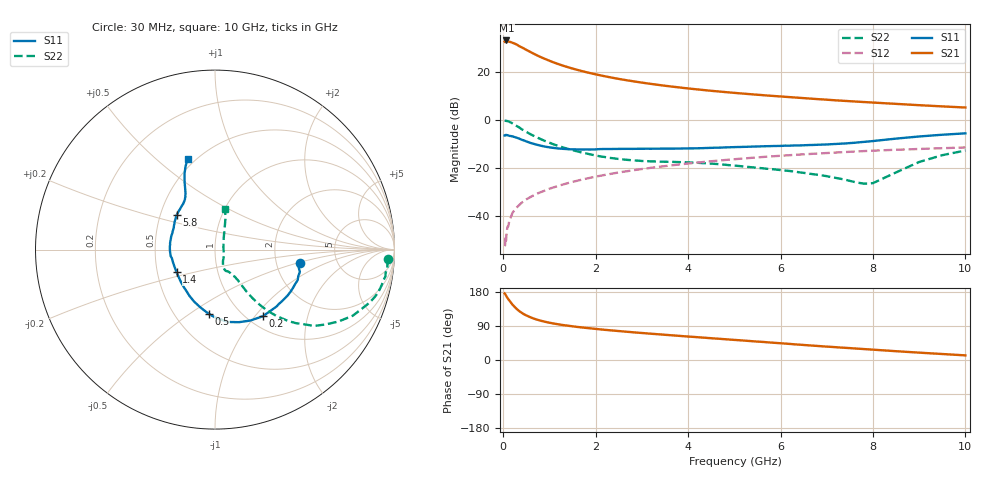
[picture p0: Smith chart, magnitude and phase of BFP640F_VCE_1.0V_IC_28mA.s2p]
! Infineon Technologies  Discrete & RF Semiconductors
! BFP640F
! VCE =  1.0 V,  IC =  28 mA
! Common Emitter S-Parameters:  Apr 2013
# GHz  S  MA  R  50
!  f  S11  S21  S12  S22
! GHz  MAG  ANG  MAG  ANG  MAG  ANG  MAG  ANG
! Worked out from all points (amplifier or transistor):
!   99 points, 30 MHz to 10 GHz, reference 50 ohm
!   highest |S21| = 33.0 dB at 70 MHz (marker M1)
!   |S21| within 3 dB of that: start of sweep to 414 MHz
!   unconditionally stable (mu >= 1): 1.75 GHz to end of sweep
!   at 350 MHz: K = 0.45, MSG = 32.9 dB, |S12| = -35.2 dB
!   at 3.5 GHz: K = 1.06, MAG = 15.2 dB, |S12| = -19.1 dB
!   at 10 GHz: K = 1.05, MAG = 7.0 dB, |S12| = -11.4 dB
!   S11 on the Smith chart (normalised r, x): 30 MHz: 2.70, -0.53; 200 MHz: 1.17, -1.10; 500 MHz: 0.73, -0.60; 1.4 GHz: 0.63, -0.17; 5.8 GHz: 0.61, +0.26; 10 GHz: 0.45, +0.64
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0.03  0.477 -9.2  42.38 175.8  0.0024 83.8  0.9652 -3.1
0.05  0.4889 -14.7  44.19 172.4  0.0038 91.7  0.9662 -6.1
0.07  0.4909 -20.3  44.92 168.2  0.0041 88.3  0.961 -9.0
0.11  0.4786 -32.3  43.11 160.6  0.0062 81.5  0.9395 -14.7
0.2  0.4572 -54.2  40.19 146.2  0.0118 73.9  0.8519 -25.6
0.25  0.4419 -63.4  38.58 139.8  0.0137 73.1  0.7964 -30.2
0.3  0.4258 -71.8  36.54 133.8  0.0155 70.9  0.744 -34.1
0.35  0.4099 -79.7  33.98 128.7  0.0173 69.7  0.6971 -37.6
0.4  0.3888 -85.8  32.32 124.6  0.0192 68.4  0.6433 -40.2
0.5  0.3593 -95.6  28.65 117.6  0.0225 68.4  0.5676 -44.4
0.6  0.3326 -104.1  25.55 112.1  0.0255 67.7  0.5014 -47.3
0.8  0.295 -118.7  20.52 104.0  0.0315 67.5  0.406 -50.7
1.1  0.2626 -136.1  15.61 96.1  0.0402 67.7  0.3098 -52.8
1.4  0.2482 -149.3  12.52 90.5  0.049 67.3  0.252 -53.2
1.7  0.2444 -160.3  10.41 85.9  0.0579 66.7  0.2115 -53.2
2.4  0.2509 -178.3  7.441 77.5  0.0785 64.5  0.1596 -56.7
3.4  0.2544 163.8  5.299 67.5  0.1077 59.8  0.1364 -61.6
5.1  0.2753 144.1  3.597 52.2  0.1563 50.3  0.1111 -64.6
5.8  0.2876 137.6  3.186 45.9  0.1757 46.0  0.0958 -62.3
6.7  0.3036 128.1  2.763 37.9  0.1989 40.2  0.0751 -53.1
8.5  0.4112 114.3  2.165 23.2  0.2413 28.6  0.0817 53.5
10  0.5293 106.6  1.819 12.2  0.2695 19.7  0.2329 76.2
